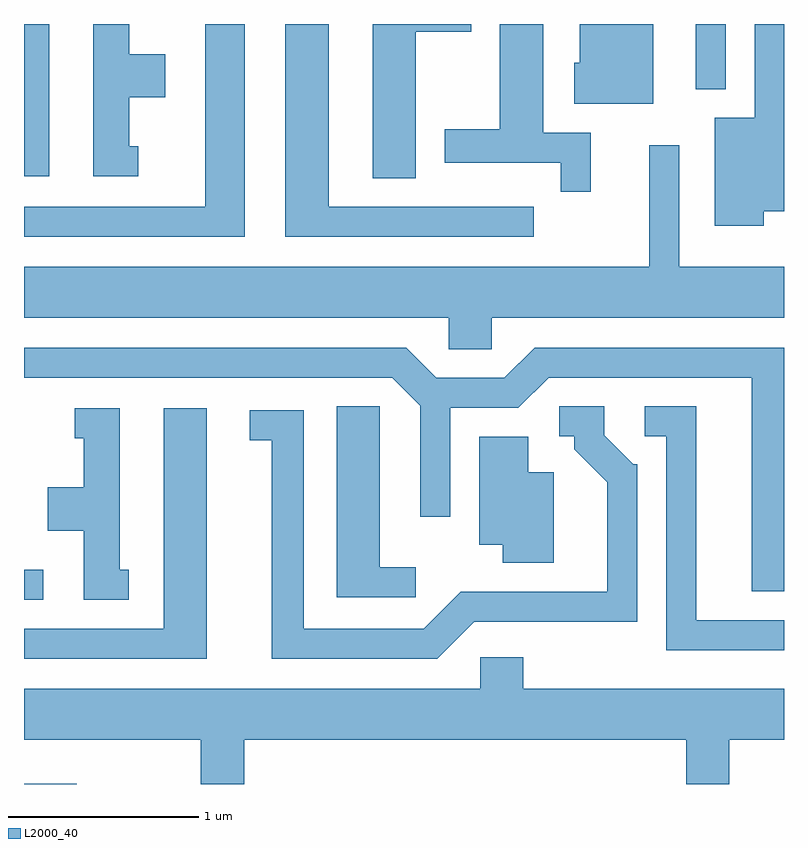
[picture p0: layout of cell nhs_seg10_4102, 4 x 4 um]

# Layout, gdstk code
import gdstk
lib = gdstk.Library(unit=1e-6, precision=1e-09)
def R(c, l, rs):  # rectangles x0, y0, x1, y1
    for r in rs: c.add(gdstk.rectangle(r[:2], r[2:], *l))
def P(c, l, *ps):  # polygons
    for p in ps: c.add(gdstk.Polygon(p, *l))
L2000_40 = (2000, 40)

nhs_seg10_4102 = lib.new_cell('nhs_seg10_4102')
R(nhs_seg10_4102, L2000_40, [(305.611,2162.522,305.888,2162.524), (305.611,2163.491,305.713,2163.649), (305.611,2165.721,305.744,2166.522), (309.146,2166.178,309.304,2166.522)])
P(nhs_seg10_4102, L2000_40, [(308.594,2165.949),(308.344,2165.949),(308.344,2166.522),(308.116,2166.522),(308.116,2165.969),(307.826,2165.969),(307.826,2165.791),(308.436,2165.791),(308.436,2165.638),(308.594,2165.638)],
  [(306.774,2166.522),(306.566,2166.522),(306.566,2165.559),(305.611,2165.559),(305.611,2165.401),(306.774,2165.401)],
  [(307.674,2166.481),(307.964,2166.481),(307.964,2166.522),(307.446,2166.522),(307.446,2165.711),(307.674,2165.711)],
  [(308.924,2166.522),(308.536,2166.522),(308.536,2166.319),(308.506,2166.319),(308.506,2166.101),(308.924,2166.101)],
  [(309.504,2165.536),(309.611,2165.536),(309.611,2166.522),(309.456,2166.522),(309.456,2166.029),(309.246,2166.029),(309.246,2165.461),(309.504,2165.461)],
  [(306.213,2165.879),(306.164,2165.879),(306.164,2166.136),(306.354,2166.136),(306.354,2166.364),(306.164,2166.364),(306.164,2166.522),(305.976,2166.522),(305.976,2165.721),(306.213,2165.721)],
  [(308.293,2165.559),(307.214,2165.559),(307.214,2166.522),(306.986,2166.522),(306.986,2165.401),(308.293,2165.401)],
  [(308.074,2164.976),(309.611,2164.976),(309.611,2165.244),(309.059,2165.244),(309.059,2165.883),(308.901,2165.883),(308.901,2165.244),(305.611,2165.244),(305.611,2164.976),(307.846,2164.976),(307.846,2164.811),(308.074,2164.811)],
  [(309.611,2164.819),(308.299,2164.819),(308.139,2164.659),(307.782,2164.659),(307.622,2164.819),(305.611,2164.819),(305.611,2164.661),(307.549,2164.661),(307.696,2164.514),(307.696,2163.928),(307.854,2163.928),(307.854,2164.501),(308.212,2164.501),(308.372,2164.661),(309.441,2164.661),(309.441,2163.536),(309.611,2163.536)],
  [(307.673,2163.664),(307.484,2163.664),(307.484,2164.509),(307.256,2164.509),(307.256,2163.506),(307.673,2163.506)],
  [(307.982,2163.376),(308.839,2163.376),(308.839,2164.204),(308.817,2164.204),(308.664,2164.357),(308.664,2164.509),(308.428,2164.509),(308.428,2164.351),(308.506,2164.351),(308.506,2164.284),(308.681,2164.109),(308.681,2163.534),(307.909,2163.534),(307.714,2163.339),(307.084,2163.339),(307.084,2164.489),(306.798,2164.489),(306.798,2164.331),(306.916,2164.331),(306.916,2163.181),(307.787,2163.181)],
  [(309.611,2163.384),(309.149,2163.384),(309.149,2164.509),(308.878,2164.509),(308.878,2164.351),(308.991,2164.351),(308.991,2163.226),(309.611,2163.226)],
  [(306.163,2163.649),(306.114,2163.649),(306.114,2164.499),(305.878,2164.499),(305.878,2164.341),(305.926,2164.341),(305.926,2164.084),(305.736,2164.084),(305.736,2163.856),(305.926,2163.856),(305.926,2163.491),(306.163,2163.491)],
  [(306.574,2164.499),(306.346,2164.499),(306.346,2163.339),(305.611,2163.339),(305.611,2163.181),(306.574,2163.181)],
  [(308.399,2164.164),(308.264,2164.164),(308.264,2164.349),(308.006,2164.349),(308.006,2163.781),(308.131,2163.781),(308.131,2163.686),(308.399,2163.686)],
  [(306.769,2162.756),(309.096,2162.756),(309.096,2162.522),(309.324,2162.522),(309.324,2162.756),(309.611,2162.756),(309.611,2163.024),(308.239,2163.024),(308.239,2163.189),(308.011,2163.189),(308.011,2163.024),(305.611,2163.024),(305.611,2162.756),(306.541,2162.756),(306.541,2162.522),(306.769,2162.522)])

lib.write_gds('nhs_seg10_4102.gds')
